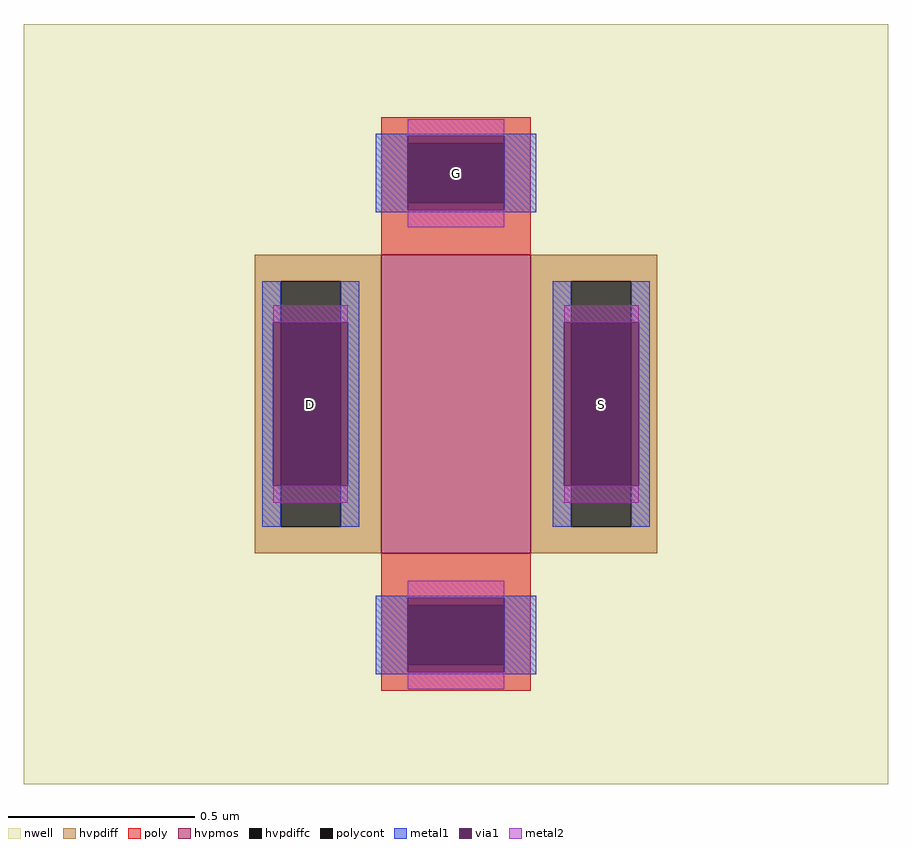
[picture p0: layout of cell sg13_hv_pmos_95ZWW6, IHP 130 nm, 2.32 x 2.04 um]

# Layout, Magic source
magic
tech ihp-sg13cmos5l
magscale 1 2
<< nwell >>
rect -232 -204 232 204
<< hvpmos >>
rect -40 -80 40 80
<< hvpdiff >>
rect -108 66 -40 80
rect -108 -66 -94 66
rect -62 -66 -40 66
rect -108 -80 -40 -66
rect 40 66 108 80
rect 40 -66 62 66
rect 94 -66 108 66
rect 40 -80 108 -66
<< hvpdiffc >>
rect -94 -66 -62 66
rect 62 -66 94 66
<< poly >>
rect -40 140 40 154
rect -40 108 -26 140
rect 26 108 40 140
rect -40 80 40 108
rect -40 -108 40 -80
rect -40 -140 -26 -108
rect 26 -140 40 -108
rect -40 -154 40 -140
<< polycont >>
rect -26 108 26 140
rect -26 -140 26 -108
<< metal1 >>
rect -43 144 43 145
rect -43 104 -26 144
rect 26 104 43 144
rect -43 103 43 104
rect -104 44 -94 66
rect -62 44 -52 66
rect -104 -44 -98 44
rect -58 -44 -52 44
rect -104 -66 -94 -44
rect -62 -66 -52 -44
rect 52 44 62 66
rect 94 44 104 66
rect 52 -44 58 44
rect 98 -44 104 44
rect 52 -66 62 -44
rect 94 -66 104 -44
rect -43 -104 43 -103
rect -43 -144 -26 -104
rect 26 -144 43 -104
rect -43 -145 43 -144
<< via1 >>
rect -26 140 26 144
rect -26 108 26 140
rect -26 104 26 108
rect -98 -44 -94 44
rect -94 -44 -62 44
rect -62 -44 -58 44
rect 58 -44 62 44
rect 62 -44 94 44
rect 94 -44 98 44
rect -26 -108 26 -104
rect -26 -140 26 -108
rect -26 -144 26 -140
<< metal2 >>
rect -26 144 26 153
rect -26 95 26 104
rect -98 44 -58 53
rect -98 -53 -58 -44
rect 58 44 98 53
rect 58 -53 98 -44
rect -26 -104 26 -95
rect -26 -153 26 -144
<< labels >>
rlabel hvpdiffc -78 0 -78 0 0 D
port 10 nsew
rlabel hvpdiffc 78 0 78 0 0 S
port 11 nsew
rlabel polycont 0 124 0 124 0 G
port 12 nsew
<< properties >>
string gencell sg13_hv_pmos
string library sg13cmos5l
string parameters w 0.8 l 0.4 m 1 ng 1 diffcov 100 polycov 100 guard 0 glc 1 grc 1 gtc 1 gbc 1 tbcov 100 rlcov 100 topc 1 botc 1 poverlap 0 doverlap 1 lmin 0.4 wmin 0.15 class mosfet compatible {sg13_lv_pmos sg13_hv_pmos} full_metal 1 conn_gates 0 gate_ring 0 ccols 1 viasrc 100 viadrn 100 viagate 100 viagb 0 viagr 0 viagl 0 viagt 0 doports 1
<< end >>
